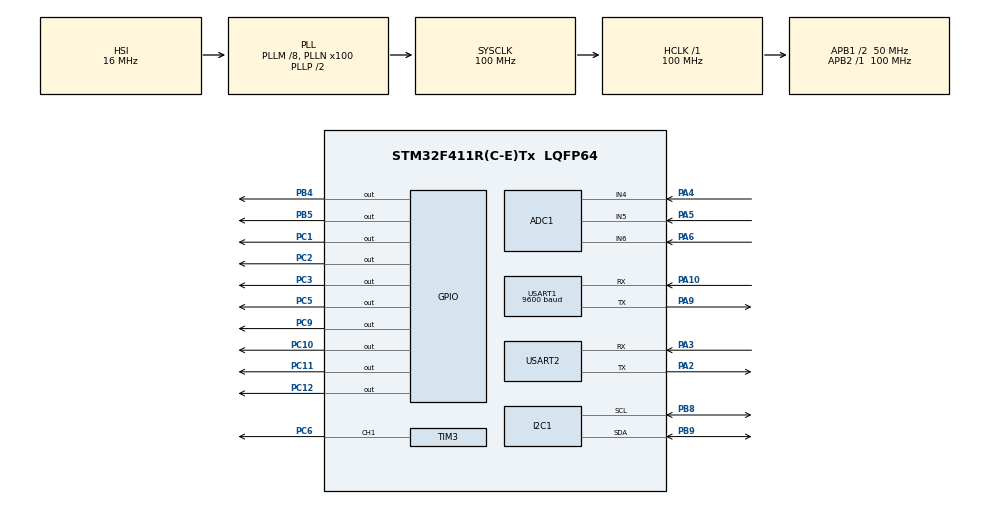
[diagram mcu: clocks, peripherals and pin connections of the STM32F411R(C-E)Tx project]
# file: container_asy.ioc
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ADC1.Channel-0\#ChannelRegularConversion=ADC_CHANNEL_4
ADC1.Channel-1\#ChannelRegularConversion=ADC_CHANNEL_5
ADC1.Channel-3\#ChannelRegularConversion=ADC_CHANNEL_6
ADC1.ContinuousConvMode=ENABLE
ADC1.DMAContinuousRequests=ENABLE
ADC1.NbrOfConversion=3
ADC1.NbrOfConversionFlag=1
ADC1.Rank-0\#ChannelRegularConversion=1
ADC1.Rank-1\#ChannelRegularConversion=2
ADC1.Rank-3\#ChannelRegularConversion=3
ADC1.SamplingTime-0\#ChannelRegularConversion=ADC_SAMPLETIME_144CYCLES
ADC1.SamplingTime-1\#ChannelRegularConversion=ADC_SAMPLETIME_144CYCLES
ADC1.SamplingTime-3\#ChannelRegularConversion=ADC_SAMPLETIME_144CYCLES
ADC1.ScanConvMode=ENABLE
ADC1.master=1
Dma.ADC1.0.Direction=DMA_PERIPH_TO_MEMORY
Dma.ADC1.0.FIFOMode=DMA_FIFOMODE_DISABLE
Dma.ADC1.0.Instance=DMA2_Stream0
Dma.ADC1.0.MemDataAlignment=DMA_MDATAALIGN_HALFWORD
Dma.ADC1.0.MemInc=DMA_MINC_ENABLE
Dma.ADC1.0.Mode=DMA_CIRCULAR
Dma.ADC1.0.PeriphDataAlignment=DMA_PDATAALIGN_HALFWORD
Dma.ADC1.0.PeriphInc=DMA_PINC_DISABLE
Dma.ADC1.0.Priority=DMA_PRIORITY_LOW
Dma.Request0=ADC1
Dma.Request1=USART1_RX
Dma.USART1_RX.1.Direction=DMA_PERIPH_TO_MEMORY
Dma.USART1_RX.1.FIFOMode=DMA_FIFOMODE_DISABLE
Dma.USART1_RX.1.Instance=DMA2_Stream2
Dma.USART1_RX.1.MemDataAlignment=DMA_MDATAALIGN_BYTE
Dma.USART1_RX.1.MemInc=DMA_MINC_ENABLE
Dma.USART1_RX.1.Mode=DMA_CIRCULAR
Dma.USART1_RX.1.PeriphDataAlignment=DMA_PDATAALIGN_BYTE
Dma.USART1_RX.1.PeriphInc=DMA_PINC_DISABLE
Dma.USART1_RX.1.Priority=DMA_PRIORITY_LOW
Mcu.Family=STM32F4
Mcu.Name=STM32F411R(C-E)Tx
Mcu.Package=LQFP64
NVIC.DMA2_Stream0_IRQn=true\:0\:0\:false\:false\:true\:false\:true\:true
NVIC.DMA2_Stream2_IRQn=true\:0\:0\:false\:false\:true\:false\:true\:true
NVIC.PriorityGroup=NVIC_PRIORITYGROUP_4
NVIC.TIM1_BRK_TIM9_IRQn=true\:0\:0\:false\:false\:true\:true\:true\:true
NVIC.TIM4_IRQn=true\:0\:0\:false\:false\:true\:true\:true\:true
PA10.Mode=Asynchronous
PA10.Signal=USART1_RX
PA13.Mode=Serial_Wire
PA13.Signal=SYS_JTMS-SWDIO
PA14.Mode=Serial_Wire
PA14.Signal=SYS_JTCK-SWCLK
PA2.Mode=Asynchronous
PA2.Signal=USART2_TX
PA3.Mode=Asynchronous
PA3.Signal=USART2_RX
PA4.Signal=ADCx_IN4
PA5.Signal=ADCx_IN5
PA6.Signal=ADCx_IN6
PA9.Mode=Asynchronous
PA9.Signal=USART1_TX
PB4.Signal=GPIO_Output
PB5.Signal=GPIO_Output
PB8.Mode=I2C
PB8.Signal=I2C1_SCL
PB9.Mode=I2C
PB9.Signal=I2C1_SDA
PC1.Signal=GPIO_Output
PC10.Signal=GPIO_Output
PC11.Signal=GPIO_Output
PC12.Signal=GPIO_Output
PC2.Signal=GPIO_Output
PC3.Signal=GPIO_Output
PC5.Signal=GPIO_Output
PC6.Signal=S_TIM3_CH1
PC9.Signal=GPIO_Output
PH0\ -\ OSC_IN.Mode=HSE-External-Oscillator
PH0\ -\ OSC_IN.Signal=RCC_OSC_IN
PH1\ -\ OSC_OUT.Mode=HSE-External-Oscillator
PH1\ -\ OSC_OUT.Signal=RCC_OSC_OUT
ProjectManager.HeapSize=0x200
ProjectManager.StackSize=0x400
ProjectManager.TargetToolchain=STM32CubeIDE
RCC.48MHZClocksFreq_Value=50000000
RCC.AHBFreq_Value=100000000
RCC.APB1CLKDivider=RCC_HCLK_DIV2
RCC.APB1Freq_Value=50000000
RCC.APB1TimFreq_Value=100000000
RCC.APB2Freq_Value=100000000
RCC.APB2TimFreq_Value=100000000
RCC.CortexFreq_Value=100000000
RCC.HCLKFreq_Value=100000000
RCC.HSE_VALUE=8000000
RCC.HSI_VALUE=16000000
RCC.LSE_VALUE=32768
RCC.PLLM=8
RCC.PLLN=100
RCC.SYSCLKFreq_VALUE=100000000
RCC.SYSCLKSource=RCC_SYSCLKSOURCE_PLLCLK
RCC.VCOOutputFreq_Value=200000000
SH.ADCx_IN4.0=ADC1_IN4,IN4
SH.ADCx_IN5.0=ADC1_IN5,IN5
SH.ADCx_IN6.0=ADC1_IN6,IN6
SH.S_TIM3_CH1.0=TIM3_CH1,PWM Generation1 CH1
TIM11.Prescaler=100-1
TIM3.Channel-PWM\ Generation1\ CH1=TIM_CHANNEL_1
TIM3.Period=1000-1
TIM3.Prescaler=1000-1
TIM4.Period=10000-1
TIM4.Prescaler=10000-1
TIM9.Period=1000-1
TIM9.Prescaler=10000-1
USART1.BaudRate=9600
USART1.VirtualMode=VM_ASYNC
USART2.VirtualMode=VM_ASYNC
VP_TIM11_VS_ClockSourceINT.Mode=Enable_Timer
VP_TIM3_VS_ClockSourceINT.Mode=Internal
VP_TIM4_VS_ClockSourceINT.Mode=Internal
VP_TIM9_VS_ClockSourceINT.Mode=Internal
board=custom

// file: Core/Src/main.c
/* USER CODE BEGIN Header */
/**
 ******************************************************************************
 * @file           : main.c
 * @brief          : Main program body
 ******************************************************************************
 * @attention
 *
 * Copyright (c) 2025 STMicroelectronics.
 * All rights reserved.
 *
 * This software is licensed under terms that can be found in the LICENSE file
 * in the root directory of this software component.
 * If no LICENSE file comes with this software, it is provided AS-IS.
 *
 ******************************************************************************
 */
/* USER CODE END Header */
#include "main.h"
#include "adc.h"
#include "dma.h"
#include "i2c.h"
#include "tim.h"
#include "usart.h"
#include "gpio.h"

/* USER CODE BEGIN Includes */
#include "led.h"
#include "sensor.h"
#include "dht11.h"
#include <string.h>

/* USER CODE END Includes */

/* USER CODE BEGIN PD */

// 온도 경계값 (20 ~ 25도), 습도 경계값 (35 ~ 45%)
#define TEMP_MAX 27
#define TEMP_MIN 25

#define HUMI_MAX 30
#define HUMI_MIN

#ifdef __GNUC__
/* With GCC small printf (option LD Linker->Libraries->Small printf
 * set to 'Yes') calls __io_putchar() */
#define PUTCHAR_PROTOTYPE int  __io_putchar(int ch)
#else
#define PUTCHAR_PROTOTYPE int  fputc(int ch, FILE *f)
#endif /* __GNUC__*/

/** @brief Retargets the C library printf function to the USART.
 *  @param None
 *  @retval None
 */
PUTCHAR_PROTOTYPE
{
	/* Place your implementation of fputc here */
	/* e.g. write a character to the USART2 and Loop
     until the end of transmission */
	if(ch == '\n')
		HAL_UART_Transmit(&huart2, (uint8_t*) "\r", 1, 0xFFFF);
	HAL_UART_Transmit(&huart2, (uint8_t*) &ch, 1, 0xFFFF);
}

/* USER CODE END PD */

/* USER CODE BEGIN PV */
DHT11 dht1;
DHT11 dht2;
DHT_THRES dht_thr;
volatile uint8_t dht_readFLAG = 0;
volatile uint8_t adc_readFLAG = 0;
volatile uint8_t trans_FLAG = 0;
volatile uint8_t cnt = 0;

volatile uint8_t second_FLAG = 0; // 1초마다 1씩 증가되는 시스템 1초

volatile uint8_t fire_timer_running = 0; // 불꽃감지되면 1이 되어서 3초 셀수있게하는 flag
volatile uint8_t fire_timer_count = 0; // 3초를 카운트하는 변수

uint8_t led_update_time = 0;
uint8_t led_step = 0; // 1초마다 led 단계 증가할 수 있게

char recv_data[6] = "-----";   // 수신 받은 데이터

volatile uint16_t adcValue[3]; // adc값 저장 배열

uint8_t FIRE_flag = 0;
uint16_t FIRE_value = 0;
uint16_t WATER_Leftvalue = 0;
uint16_t WATER_Rightvalue = 0;

/* USER CODE END PV */

void SystemClock_Config(void);

/* USER CODE BEGIN 0 */

// (온습도-500ms), (수위, 불꽃-100ms), (전송-500ms)
void HAL_TIM_PeriodElapsedCallback(TIM_HandleTypeDef *htim)
{
	if(htim->Instance == TIM9) // 100ms마다 타이머 인터럽트 발생
	{
		adc_readFLAG = 1;
		dht_readFLAG = (cnt % 5 == 0) ? 1 : 0;
		trans_FLAG = (cnt % 5 == 0) ? 1 : 0;

		cnt++;
	}

	// 시스템 전체의 s를 세고있음
	else if(htim->Instance == TIM4) // 1s마다 타이머 인터럽트 발생
	{
		second_FLAG = (second_FLAG + 1) % 256;

		if(fire_timer_running)
		{
			fire_timer_count++;

			if(fire_timer_count >= 3)
			{
				HAL_GPIO_WritePin(GPIOC, GPIO_PIN_9, RESET); // 3초 후 가습기 OFF
				fire_timer_running = 0;
				fire_timer_count = 0;
			}
		}
	}
}

/* USER CODE END 0 */

int main(void)
{

  /* MCU Configuration--------------------------------------------------------*/

  /* Reset of all peripherals, Initializes the Flash interface and the Systick. */
  HAL_Init();

  /* Configure the system clock */
  SystemClock_Config();

  /* Initialize all configured peripherals */
  MX_GPIO_Init();
  MX_DMA_Init();
  MX_TIM11_Init();
  MX_USART2_UART_Init();
  MX_I2C1_Init();
  MX_ADC1_Init();
  MX_USART1_UART_Init();
  MX_TIM3_Init();
  MX_TIM9_Init();
  MX_TIM4_Init();
  /* USER CODE BEGIN 2 */

    // 사용센서 : 블루투스, 온습도 2개, 선풍기, FAN, 수위센서, 불꽃감지센서, 바 LED

    char trans_msg[55];

    printf("STM32 start\n");

    HAL_UART_Receive_DMA(&huart1, recv_data, 6);

    DHT_thres_init(&dht_thr); // 온습도 경계값 초기화
	dht11Init(&dht1, GPIOB, GPIO_PIN_4, &htim11); // 온습도 초기화
	dht11Init(&dht2, GPIOB, GPIO_PIN_5, &htim11);

	HAL_ADC_Start_DMA(&hadc1, adcValue, 3); // 수위센서, 불꽃감지센서 초기화

	HAL_TIM_PWM_Start(&htim3, TIM_CHANNEL_1); // 선풍기 초기화

	HAL_TIM_Base_Start_IT(&htim4);	// 1s 주기로 타이머 인터럽트 발생
	HAL_TIM_Base_Start_IT(&htim9);  // 100ms 주기로 타이머 인터럽트 발생

  /* USER CODE END 2 */

  /* Infinite loop */
  /* USER CODE BEGIN WHILE */
	while (1)
	{
		// 수신
		printf("recv : %s\n", recv_data);
		DHT_parse(&dht_thr, recv_data);

		// 온습도 경계값 출력
		printf("[thres] T1:%d, H1:%d, T2:%d, H2:%d\n", dht_thr.T1, dht_thr.H1, dht_thr.T2, dht_thr.H2);

		if(adc_readFLAG)
		{
			// 불꽃감지(ADC4), 수위센서(ADC5, ADC6)
			FIRE_value = FIRE_check();
			if(FIRE_value >= 500) // 불꽃 감지 됨
				FIRE_flag = 1;
			else
				FIRE_flag = 0;

			printf("fire : %4d, flag : %d\r\n", FIRE_value, FIRE_flag);

			WATER_Leftvalue = WATER_Leftcheck();
			printf("water_Left : %4d\r\n", WATER_Leftvalue);

			WATER_Rightvalue = WATER_Rightcheck();
			printf("water_right : %4d\r\n", WATER_Rightvalue);

			adc_readFLAG = 0;
		}

		if(FIRE_flag == 1)
		{
		    HAL_GPIO_WritePin(GPIOC, GPIO_PIN_9, SET); // 가습기 on
		    fire_timer_running = 1;                    // 타이머 활성화
		    fire_timer_count = 0;                      // 타이머 초기화 (다시 3초 측정)
		}

		if(dht_readFLAG)
		{
			// 측정
			// 온습도 1 (해당 온습도로 선풍기, FAN 동작하도록)
			if(dht11Read(&dht1))
			{
				printf("dht1 => Temp : %d C, Hum : %d %%\r\n", dht1.temperature, dht1.humidity);
			}
			// 온습도 2 (여기는 그냥 온습도 출력만)
			if(dht11Read(&dht2))
			{
				printf("dht2 => Temp : %d C, Hum : %d %%\r\n", dht2.temperature, dht2.humidity);
			}

			// 온도 경계값 (20 ~ 25도), 습도 경계값 (35 ~ 45%)

			// 온도
			if(dht1.temperature > dht_thr.T1 + 2) // 온도가 경계값보다 큰가?
			{
				PINWHEEL_on(); // 선풍기 ON
				LED1_off();
			}
			else if(dht1.temperature < dht_thr.T1 - 2) // 온도가 경계값보다 낮은가?
			{
				PINWHEEL_off(); // 선풍기 off
//				static uint8_t cnt = 0;
//				cnt++;
//				if(cnt == 2)
//				{
//					cnt = 0;
//					led_step = (led_step % 4) + 1;  // 1단 ~ 4단
//
//					LED1_on(led_step); // LED ON (히터)
//				}
				if(second_FLAG != led_update_time)
				{
					led_update_time = second_FLAG; // 현재의 초로 초기화
					led_step = (led_step % 4) + 1;  // 1단 ~ 4단

					LED1_on(led_step); // LED ON (히터)
				}
			}
			else
			{
				LED1_off(); // LED OFF (히터)
				PINWHEEL_off(); // 선풍기 off
				led_step = 0;
			}

			// 습도
			if(dht1.humidity > dht_thr.H1 + 10)
			{
				FAN_on(); // FAN ON
				HAL_GPIO_WritePin(GPIOC, GPIO_PIN_9, RESET); // 가습기 OFF
			}
			else if(dht1.humidity < dht_thr.H1 - 5)
			{
				HAL_GPIO_WritePin(GPIOC, GPIO_PIN_9, SET); // 가습기 ON
				FAN_off(); // FAN OFF
			}
			else
			{
				FAN_off(); // FAN OFF
				HAL_GPIO_WritePin(GPIOC, GPIO_PIN_9, RESET); // 가습기 OFF
			}

			LED2_off();
			dht_readFLAG = 0; // 새로운 온습도 값을 받아올 수 있게
		}

		// 가습기 센서
//		HAL_GPIO_WritePin(GPIOC, GPIO_PIN_9, SET);
//		HAL_Delay(1000);
//		HAL_GPIO_WritePin(GPIOC, GPIO_PIN_9, RESET);
//		HAL_Delay(1000);

		// bar LED (원하는 단수 입력{1단, 2단, 3단, 4단}) - 0단은 off
//		for(uint8_t i=1; i<=4; i++)
//		{
//			LED1_on(i);
//			HAL_Delay(500);
//			LED2_on(i);
//			HAL_Delay(500);
//		}
		//LED1_off();
		//HAL_Delay(500);
		//LED2_off();
		//HAL_Delay(500);

		// 선풍기
//		PINWHEEL_on();
//		HAL_Delay(2000);
//		PINWHEEL_off();
//		HAL_Delay(2000);

		// FAN
//		FAN_on();
//		HAL_Delay(2000);
//		FAN_off();
//		HAL_Delay(2000);

		if(trans_FLAG)
		{
			// 블루투스 송신 : stm -> 라즈베리파이
			sprintf(trans_msg, "T1:%2d, H1:%2d, T2:%2d, H2:%2d, F:%d, LW:%4d, RW:%4d\n",
					dht1.temperature, dht1.humidity, dht2.temperature, dht2.humidity, FIRE_flag, WATER_Leftvalue, WATER_Rightvalue);
			HAL_UART_Transmit(&huart1, (uint8_t *)trans_msg, strlen(trans_msg), 100);

			trans_FLAG = 0;
		}

    /* USER CODE END WHILE */

	}
}

void SystemClock_Config(void)
{
  RCC_OscInitTypeDef RCC_OscInitStruct = {0};
  RCC_ClkInitTypeDef RCC_ClkInitStruct = {0};

  /** Configure the main internal regulator output voltage
  */
  __HAL_RCC_PWR_CLK_ENABLE();
  __HAL_PWR_VOLTAGESCALING_CONFIG(PWR_REGULATOR_VOLTAGE_SCALE1);

  /** Initializes the RCC Oscillators according to the specified parameters
  * in the RCC_OscInitTypeDef structure.
  */
  RCC_OscInitStruct.OscillatorType = RCC_OSCILLATORTYPE_HSI;
  RCC_OscInitStruct.HSIState = RCC_HSI_ON;
  RCC_OscInitStruct.HSICalibrationValue = RCC_HSICALIBRATION_DEFAULT;
  RCC_OscInitStruct.PLL.PLLState = RCC_PLL_ON;
  RCC_OscInitStruct.PLL.PLLSource = RCC_PLLSOURCE_HSI;
  RCC_OscInitStruct.PLL.PLLM = 8;
  RCC_OscInitStruct.PLL.PLLN = 100;
  RCC_OscInitStruct.PLL.PLLP = RCC_PLLP_DIV2;
  RCC_OscInitStruct.PLL.PLLQ = 4;
  if (HAL_RCC_OscConfig(&RCC_OscInitStruct) != HAL_OK)
  {
    Error_Handler();
  }

  /** Initializes the CPU, AHB and APB buses clocks
  */
  RCC_ClkInitStruct.ClockType = RCC_CLOCKTYPE_HCLK|RCC_CLOCKTYPE_SYSCLK
                              |RCC_CLOCKTYPE_PCLK1|RCC_CLOCKTYPE_PCLK2;
  RCC_ClkInitStruct.SYSCLKSource = RCC_SYSCLKSOURCE_PLLCLK;
  RCC_ClkInitStruct.AHBCLKDivider = RCC_SYSCLK_DIV1;
  RCC_ClkInitStruct.APB1CLKDivider = RCC_HCLK_DIV2;
  RCC_ClkInitStruct.APB2CLKDivider = RCC_HCLK_DIV1;

  if (HAL_RCC_ClockConfig(&RCC_ClkInitStruct, FLASH_LATENCY_3) != HAL_OK)
  {
    Error_Handler();
  }
}

void Error_Handler(void)
{
	__disable_irq();
	while (1)
	{
	}
}
